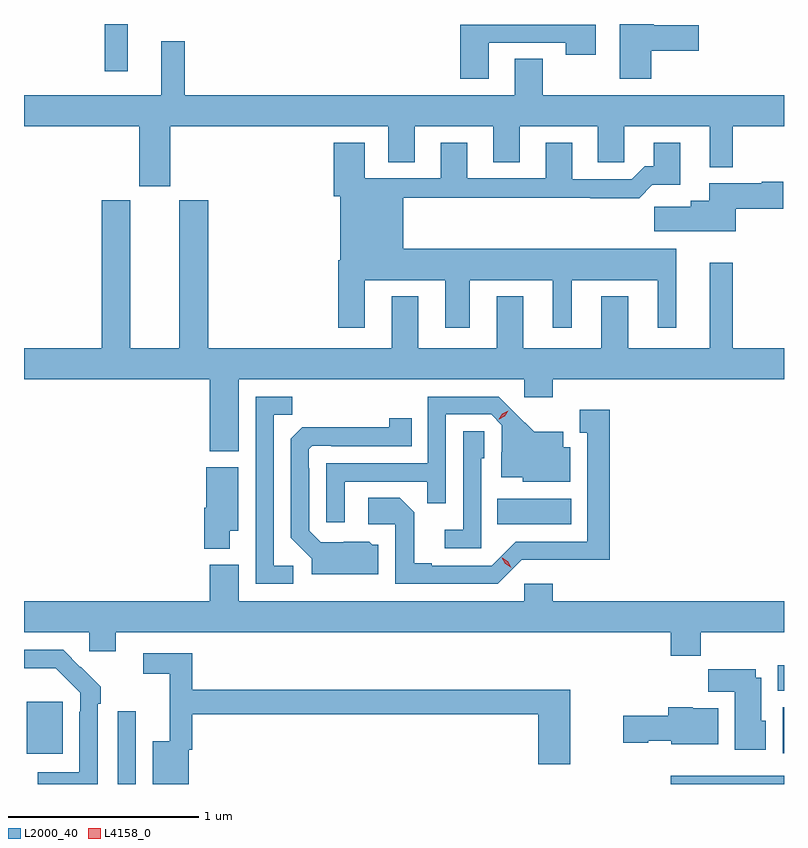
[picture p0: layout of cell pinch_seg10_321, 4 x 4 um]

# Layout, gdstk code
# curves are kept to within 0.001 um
import gdstk
lib = gdstk.Library(unit=1e-6, precision=1e-09)
def R(c, l, rs):  # rectangles x0, y0, x1, y1
    for r in rs: c.add(gdstk.rectangle(r[:2], r[2:], *l))
def P(c, l, *ps):  # polygons
    for p in ps: c.add(gdstk.Polygon(p, *l))
L2000_40 = (2000, 40)
L4158_0 = (4158, 0)

pinch_seg10_321 = lib.new_cell('pinch_seg10_321')
R(pinch_seg10_321, L2000_40, [(398.439,1274.21,398.535,1274.593), (401.351,1274.21,401.946,1274.254), (397.961,1274.369,398.149,1274.644), (401.939,1274.372,401.946,1274.614), (401.912,1274.702,401.946,1274.836), (400.438,1275.578,400.825,1275.712), (398.37,1277.961,398.491,1278.21)])
P(pinch_seg10_321, L2000_40, [(401.248,1278.068),(401.497,1278.068),(401.497,1278.203),(401.261,1278.203),(401.261,1278.21),(401.135,1278.21),(401.135,1278.208),(401.081,1278.208),(401.081,1277.922),(401.248,1277.922)],
  [(400.393,1278.111),(400.798,1278.111),(400.798,1278.048),(400.954,1278.048),(400.954,1278.207),(400.241,1278.207),(400.241,1277.922),(400.393,1277.922)],
  [(398.716,1277.672),(399.863,1277.672),(399.863,1277.482),(400.003,1277.482),(400.003,1277.672),(400.415,1277.672),(400.415,1277.482),(400.555,1277.482),(400.555,1277.672),(400.967,1277.672),(400.967,1277.482),(401.106,1277.482),(401.106,1277.672),(401.555,1277.672),(401.555,1277.456),(401.677,1277.456),(401.677,1277.672),(401.946,1277.672),(401.946,1277.836),(400.677,1277.836),(400.677,1278.026),(400.529,1278.026),(400.529,1277.836),(398.791,1277.836),(398.791,1278.118),(398.669,1278.118),(398.669,1277.836),(397.946,1277.836),(397.946,1277.672),(398.552,1277.672),(398.552,1277.355),(398.716,1277.355)],
  [(399.739,1276.862),(400.163,1276.862),(400.163,1276.611),(400.291,1276.611),(400.291,1276.862),(400.73,1276.862),(400.73,1276.611),(400.828,1276.611),(400.828,1276.862),(401.282,1276.862),(401.282,1276.611),(401.38,1276.611),(401.38,1277.026),(399.943,1277.026),(399.943,1277.296),(400.927,1277.296),(400.927,1277.294),(401.183,1277.294),(401.252,1277.363),(401.401,1277.363),(401.401,1277.584),(401.261,1277.584),(401.261,1277.461),(401.212,1277.461),(401.145,1277.394),(400.831,1277.394),(400.831,1277.584),(400.691,1277.584),(400.691,1277.397),(400.279,1277.397),(400.279,1277.584),(400.139,1277.584),(400.139,1277.397),(399.739,1277.397),(399.739,1277.584),(399.575,1277.584),(399.575,1277.304),(399.611,1277.304),(399.611,1276.966),(399.599,1276.966),(399.599,1276.611),(399.739,1276.611)],
  [(401.692,1277.237),(401.941,1277.237),(401.941,1277.379),(401.828,1277.379),(401.828,1277.371),(401.552,1277.371),(401.552,1277.281),(401.456,1277.281),(401.456,1277.249),(401.262,1277.249),(401.262,1277.12),(401.692,1277.12)],
  [(401.946,1276.504),(401.677,1276.504),(401.677,1276.954),(401.555,1276.954),(401.555,1276.504),(401.125,1276.504),(401.125,1276.777),(400.985,1276.777),(400.985,1276.504),(400.573,1276.504),(400.573,1276.777),(400.433,1276.777),(400.433,1276.504),(400.021,1276.504),(400.021,1276.777),(399.881,1276.777),(399.881,1276.504),(398.915,1276.504),(398.915,1277.283),(398.762,1277.283),(398.762,1276.504),(398.506,1276.504),(398.506,1277.283),(398.354,1277.283),(398.354,1276.504),(397.946,1276.504),(397.946,1276.34),(398.924,1276.34),(398.924,1275.962),(399.076,1275.962),(399.076,1276.34),(400.578,1276.34),(400.578,1276.245),(400.73,1276.245),(400.73,1276.34),(401.946,1276.34)],
  [(399.364,1275.36),(399.261,1275.36),(399.261,1276.153),(399.357,1276.153),(399.357,1276.248),(399.165,1276.248),(399.165,1275.264),(399.364,1275.264)],
  [(399.633,1275.801),(400.069,1275.801),(400.069,1275.688),(400.167,1275.688),(400.167,1276.155),(400.404,1276.155),(400.461,1276.098),(400.461,1275.956),(400.457,1275.956),(400.457,1275.824),(400.572,1275.824),(400.572,1275.8),(400.822,1275.8),(400.822,1275.982),(400.783,1275.982),(400.783,1276.063),(400.631,1276.063),(400.444,1276.248),(400.071,1276.248),(400.071,1275.897),(399.537,1275.897),(399.537,1275.588),(399.633,1275.588)],
  [(400.566,1275.39),(401.029,1275.389),(401.029,1276.18),(400.871,1276.18),(400.871,1276.059),(400.91,1276.059),(400.91,1275.486),(400.533,1275.486),(400.407,1275.36),(400.093,1275.36),(400.093,1275.373),(399.999,1275.373),(399.999,1275.64),(399.923,1275.716),(399.759,1275.716),(399.759,1275.576),(399.9,1275.576),(399.9,1275.264),(400.44,1275.264)],
  [(399.811,1275.468),(399.78,1275.468),(399.764,1275.484),(399.507,1275.483),(399.447,1275.543),(399.447,1275.872),(399.444,1275.872),(399.444,1275.972),(399.462,1275.99),(399.562,1275.99),(399.562,1275.987),(399.986,1275.987),(399.986,1276.135),(399.868,1276.135),(399.868,1276.088),(399.41,1276.087),(399.351,1276.028),(399.351,1275.506),(399.461,1275.396),(399.461,1275.314),(399.811,1275.314)],
  [(400.353,1275.924),(400.368,1275.924),(400.368,1276.067),(400.257,1276.067),(400.257,1275.547),(400.161,1275.547),(400.161,1275.45),(400.353,1275.45)],
  [(399.028,1275.542),(399.073,1275.542),(399.073,1275.877),(398.906,1275.877),(398.906,1275.663),(398.894,1275.663),(398.894,1275.449),(399.028,1275.449)],
  [(401.507,1275.008),(401.946,1275.008),(401.946,1275.172),(400.73,1275.172),(400.73,1275.265),(400.578,1275.265),(400.578,1275.172),(399.076,1275.172),(399.076,1275.364),(398.924,1275.364),(398.924,1275.172),(397.946,1275.172),(397.946,1275.008),(398.289,1275.008),(398.289,1274.91),(398.428,1274.91),(398.428,1275.008),(401.351,1275.008),(401.351,1274.884),(401.507,1274.884)],
  [(398.334,1274.633),(398.349,1274.633),(398.349,1274.721),(398.152,1274.916),(397.946,1274.916),(397.946,1274.82),(398.113,1274.82),(398.241,1274.691),(398.241,1274.591),(398.238,1274.591),(398.238,1274.271),(398.019,1274.271),(398.019,1274.21),(398.334,1274.21)],
  [(398.812,1274.391),(398.831,1274.391),(398.831,1274.578),(400.652,1274.578),(400.652,1274.313),(400.822,1274.313),(400.822,1274.707),(398.831,1274.707),(398.831,1274.898),(398.574,1274.898),(398.574,1274.79),(398.714,1274.79),(398.714,1274.434),(398.624,1274.434),(398.624,1274.21),(398.812,1274.21)],
  [(401.851,1274.544),(401.827,1274.544),(401.827,1274.77),(401.797,1274.77),(401.797,1274.815),(401.548,1274.815),(401.548,1274.696),(401.687,1274.696),(401.687,1274.39),(401.851,1274.39)],
  [(401.599,1274.608),(401.466,1274.608),(401.466,1274.614),(401.336,1274.614),(401.336,1274.568),(401.1,1274.568),(401.1,1274.426),(401.232,1274.426),(401.232,1274.438),(401.352,1274.438),(401.352,1274.42),(401.599,1274.42)])
P(pinch_seg10_321, L4158_0, [(400.51,1275.349),(400.478,1275.368),(400.461,1275.401),(400.461,1275.401),(400.462,1275.401),(400.493,1275.382),(400.51,1275.349),(400.51,1275.349)],
  [(400.445,1276.13),(400.445,1276.131),(400.463,1276.16),(400.494,1276.174),(400.494,1276.174),(400.494,1276.174),(400.476,1276.145),(400.446,1276.13)])

lib.write_gds('pinch_seg10_321.gds')
